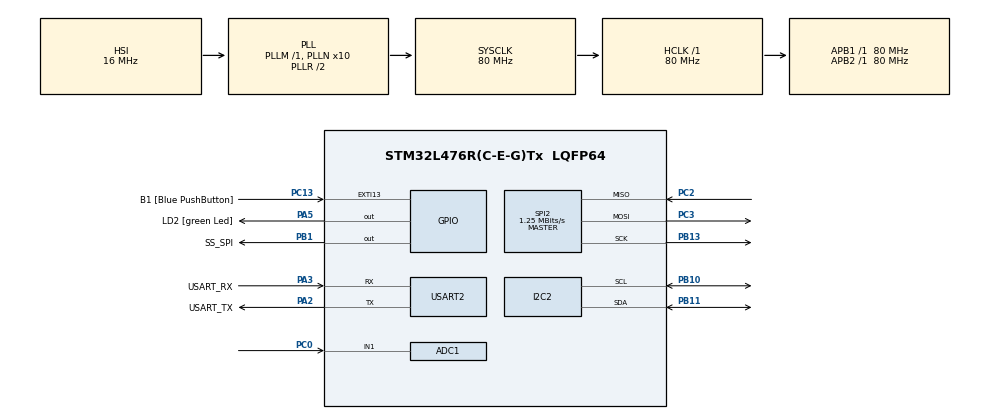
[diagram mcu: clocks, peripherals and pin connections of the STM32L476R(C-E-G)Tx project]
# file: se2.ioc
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ADC1.Channel-0\#ChannelRegularConversion=ADC_CHANNEL_1
ADC1.NbrOfConversionFlag=1
ADC1.OffsetNumber-0\#ChannelRegularConversion=ADC_OFFSET_NONE
ADC1.Rank-0\#ChannelRegularConversion=1
ADC1.SamplingTime-0\#ChannelRegularConversion=ADC_SAMPLETIME_2CYCLES_5
ADC1.master=1
I2C2.Timing=0x10D19CE4
Mcu.Family=STM32L4
Mcu.Name=STM32L476R(C-E-G)Tx
Mcu.Package=LQFP64
NVIC.ADC1_2_IRQn=true\:0\:0\:false\:false\:true\:true\:true\:true
NVIC.PriorityGroup=NVIC_PRIORITYGROUP_4
NVIC.SPI2_IRQn=true\:0\:0\:false\:false\:true\:true\:true\:true
NVIC.TIM6_DAC_IRQn=true\:0\:0\:false\:false\:true\:true\:true\:true
NVIC.TIM7_IRQn=true\:0\:0\:false\:false\:true\:true\:true\:true
NVIC.USART2_IRQn=true\:0\:0\:false\:false\:true\:true\:true\:true
PA13\ (JTMS-SWDIO).GPIO_Label=TMS
PA13\ (JTMS-SWDIO).Signal=SYS_JTMS-SWDIO
PA14\ (JTCK-SWCLK).GPIO_Label=TCK
PA14\ (JTCK-SWCLK).Signal=SYS_JTCK-SWCLK
PA2.GPIO_Label=USART_TX
PA2.GPIO_Mode=GPIO_MODE_AF_PP
PA2.GPIO_PuPd=GPIO_NOPULL
PA2.GPIO_Speed=GPIO_SPEED_FREQ_VERY_HIGH
PA2.Mode=Asynchronous
PA2.Signal=USART2_TX
PA3.GPIO_Label=USART_RX
PA3.GPIO_Mode=GPIO_MODE_AF_PP
PA3.GPIO_PuPd=GPIO_NOPULL
PA3.GPIO_Speed=GPIO_SPEED_FREQ_VERY_HIGH
PA3.Mode=Asynchronous
PA3.Signal=USART2_RX
PA5.GPIO_Label=LD2 [green Led]
PA5.GPIO_ModeDefaultOutputPP=GPIO_MODE_OUTPUT_PP
PA5.GPIO_PuPd=GPIO_NOPULL
PA5.GPIO_Speed=GPIO_SPEED_FREQ_LOW
PA5.Signal=GPIO_Output
PB1.GPIO_Label=SS_SPI
PB1.Signal=GPIO_Output
PB10.Mode=I2C
PB10.Signal=I2C2_SCL
PB11.Mode=I2C
PB11.Signal=I2C2_SDA
PB13.Mode=Full_Duplex_Master
PB13.Signal=SPI2_SCK
PB3\ (JTDO-TRACESWO).GPIO_Label=SWO
PB3\ (JTDO-TRACESWO).Signal=SYS_JTDO-SWO
PC0.Signal=ADCx_IN1
PC13.GPIO_Label=B1 [Blue PushButton]
PC13.GPIO_ModeDefaultEXTI=GPIO_MODE_IT_FALLING
PC13.GPIO_PuPd=GPIO_NOPULL
PC13.Signal=GPXTI13
PC14-OSC32_IN\ (PC14).Signal=RCC_OSC32_IN
PC15-OSC32_OUT\ (PC15).Signal=RCC_OSC32_OUT
PC2.Mode=Full_Duplex_Master
PC2.Signal=SPI2_MISO
PC3.Mode=Full_Duplex_Master
PC3.Signal=SPI2_MOSI
PH0-OSC_IN\ (PH0).Signal=RCC_OSC_IN
PH1-OSC_OUT\ (PH1).Signal=RCC_OSC_OUT
ProjectManager.HeapSize=0x200
ProjectManager.StackSize=0x400
ProjectManager.TargetToolchain=STM32CubeIDE
RCC.ADCFreq_Value=64000000
RCC.AHBFreq_Value=80000000
RCC.APB1Freq_Value=80000000
RCC.APB1TimFreq_Value=80000000
RCC.APB2Freq_Value=80000000
RCC.APB2TimFreq_Value=80000000
RCC.CortexFreq_Value=80000000
RCC.HCLKFreq_Value=80000000
RCC.HSE_VALUE=8000000
RCC.HSI_VALUE=16000000
RCC.LSE_VALUE=32768
RCC.MSI_VALUE=4000000
RCC.PLLN=10
RCC.PLLSourceVirtual=RCC_PLLSOURCE_HSI
RCC.PREFETCH_ENABLE=1
RCC.SYSCLKFreq_VALUE=80000000
RCC.SYSCLKSource=RCC_SYSCLKSOURCE_PLLCLK
RCC.USBFreq_Value=64000000
RCC.VCOOutputFreq_Value=160000000
SH.ADCx_IN1.0=ADC1_IN1,IN1-Single-Ended
SPI2.BaudRatePrescaler=SPI_BAUDRATEPRESCALER_64
SPI2.CalculateBaudRate=1.25 MBits/s
SPI2.DataSize=SPI_DATASIZE_8BIT
SPI2.Direction=SPI_DIRECTION_2LINES
SPI2.Mode=SPI_MODE_MASTER
SPI2.VirtualType=VM_MASTER
TIM6.Period=20000-1
TIM6.Prescaler=8000-1
TIM7.Period=20
TIM7.Prescaler=8000-1
USART2.VirtualMode-Asynchronous=VM_ASYNC
VP_TIM6_VS_ClockSourceINT.Mode=Enable_Timer
VP_TIM7_VS_ClockSourceINT.Mode=Enable_Timer
VP_TIM7_VS_OPM.Mode=OPM_bit
board=NUCLEO-L476RG

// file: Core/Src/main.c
/* USER CODE BEGIN Header */
/**
  ******************************************************************************
  * @file           : main.c
  * @brief          : Main program body
  ******************************************************************************
  * @attention
  *
  * Copyright (c) 2026 STMicroelectronics.
  * All rights reserved.
  *
  * This software is licensed under terms that can be found in the LICENSE file
  * in the root directory of this software component.
  * If no LICENSE file comes with this software, it is provided AS-IS.
  *
  ******************************************************************************
  */
/* USER CODE END Header */
#include "main.h"
#include "adc.h"
#include "i2c.h"
#include "spi.h"
#include "tim.h"
#include "usart.h"
#include "gpio.h"

/* USER CODE BEGIN Includes */
#include "getSensors.h"
#include "interrupciones.h"
#include <stdint.h>
#include <stdio.h>
#include <stdlib.h>
#include <string.h>
/* USER CODE END Includes */

void SystemClock_Config(void);

/* USER CODE BEGIN 0 */

//UART
uint8_t flag_escribir_uart;
uint8_t enable_S_uart;
uint8_t comando_completo[51];
uint8_t TimeSet[];
volatile float LecturaLDR;
unsigned char recibido2 = '0';
uint8_t index1 = 0;
uint8_t buffer[10];
uint8_t recib1;
uint8_t flag_segundo_caracter;
uint8_t flag_leer_uart;
//RTC
//char *LecturaRTC;
//float LecturaPresion;
uint8_t timeset =0;
uint8_t RTCConfig[9] = {0x00,
						Reg0,
						Reg1,
						Reg2,
						Reg3,
						Reg4,
						Reg5,
						Reg6,
						Reg7
};

/* USER CODE END 0 */

int main(void)
{

  /* MCU Configuration--------------------------------------------------------*/

  /* Reset of all peripherals, Initializes the Flash interface and the Systick. */
  HAL_Init();

  /* Configure the system clock */
  SystemClock_Config();

  /* Initialize all configured peripherals */
  MX_GPIO_Init();
  MX_ADC1_Init();
  MX_I2C2_Init();
  MX_SPI2_Init();
  MX_TIM6_Init();
  MX_USART2_UART_Init();
  MX_TIM7_Init();
  /* USER CODE BEGIN 2 */
  HAL_ADC_Start_IT(&hadc1);
  HAL_TIM_Base_Start_IT(&htim6);
  enable_S_uart = 0;
  Config_Sensor();
  //ptr_recib1 = recib1;
  HAL_UART_Receive_IT(&huart2, &recib1, 1);

  uint8_t year, month, day;
  uint8_t hour, minute, second;
  char comando; // 2 caracteres y el byte 0
  char* com;
  flag_leer_uart=0;

  HAL_I2C_Init(&hi2c2);
  //HAL_I2C_Master_Transmit(&hi2c2, SlaveAddW, RTCConfig, 9, 100);

  /* USER CODE END 2 */

  /* Infinite loop */
  /* USER CODE BEGIN WHILE */
  while (1)
  {
//	  if(flag_ConfigRTC){
//		  HAL_UART_Receive(&huart2, RTCconfig, 30, 300);
//		  flag_ConfigRTC = 0;
//	  }else {
//		  HAL_UART_Receive(&huart2, comando_completo, 2, 300);
//	  }

	  if(flag_escribir_uart && enable_S_uart){
		  //LecturaRTC = get_rtc();
		  //LecturaPresion = get_pressure();
		  LecturaLDR = get_ldr();

		  printf("%s %3.1f hPa %03u lux \n",get_rtc(),(float)get_pressure()/100.0f, (uint16_t)LecturaLDR);//Escribe en la consola serial

		  flag_escribir_uart = 0;
	  }

	  if(flag_leer_uart){

		  HAL_UART_Receive_IT(&huart2, &recib1, 1);

		  switch(recib1){
		  	  	case 'P':
		  	  		printf("%s %3.1f hPa %03u lux\n",get_rtc(),(float)get_pressure()/100.0f, (uint16_t)get_ldr());

		  	  		  break;
		  	  	case 'Q':
		  	  		printf("%s %03u lux\n",get_rtc(),(uint16_t)get_ldr());

		  	  		  		  break;
		  	  	case 'R':
		  	  		printf("%s %3.1f hPa\n",get_rtc(),(float)get_pressure()/100.0f);

		  	  		  		  break;
		  	  	case 'S': enable_S_uart = 1;

		  	  		  		  break;
		  	  	case 'T':

		  	  				HAL_Delay(1);
								if(recib1=='S'){
									timeset =1;
								}else{
									enable_S_uart = 0;
								}

		  	  		  		  break;
		  	  	default:
		  	  			printf("Error comando desconocido\n%c",0);
		  	  			break;
		  	  	//case "TS":

		  	  }

		  flag_leer_uart = 0;
	  }
	 if(timeset){
		buffer[index1] = recib1;

		if(index1>=21){
			index1 = 0;
			timeset =0;
			sscanf(buffer, "%d-%d-%d %d:%d:%d", &year,&month,&day,&hour,&minute,&second);
			RTCConfig[7] = year;
			HAL_I2C_Master_Transmit(&hi2c2, SlaveAddW, RTCConfig, 9, 100);
		}
		index1++;
	 }

//	sscanf(comando_completo, "%2s", comando);

    /* USER CODE END WHILE */

  }
}

void SystemClock_Config(void)
{
  RCC_OscInitTypeDef RCC_OscInitStruct = {0};
  RCC_ClkInitTypeDef RCC_ClkInitStruct = {0};

  /** Configure the main internal regulator output voltage
  */
  if (HAL_PWREx_ControlVoltageScaling(PWR_REGULATOR_VOLTAGE_SCALE1) != HAL_OK)
  {
    Error_Handler();
  }

  /** Initializes the RCC Oscillators according to the specified parameters
  * in the RCC_OscInitTypeDef structure.
  */
  RCC_OscInitStruct.OscillatorType = RCC_OSCILLATORTYPE_HSI;
  RCC_OscInitStruct.HSIState = RCC_HSI_ON;
  RCC_OscInitStruct.HSICalibrationValue = RCC_HSICALIBRATION_DEFAULT;
  RCC_OscInitStruct.PLL.PLLState = RCC_PLL_ON;
  RCC_OscInitStruct.PLL.PLLSource = RCC_PLLSOURCE_HSI;
  RCC_OscInitStruct.PLL.PLLM = 1;
  RCC_OscInitStruct.PLL.PLLN = 10;
  RCC_OscInitStruct.PLL.PLLP = RCC_PLLP_DIV7;
  RCC_OscInitStruct.PLL.PLLQ = RCC_PLLQ_DIV2;
  RCC_OscInitStruct.PLL.PLLR = RCC_PLLR_DIV2;
  if (HAL_RCC_OscConfig(&RCC_OscInitStruct) != HAL_OK)
  {
    Error_Handler();
  }

  /** Initializes the CPU, AHB and APB buses clocks
  */
  RCC_ClkInitStruct.ClockType = RCC_CLOCKTYPE_HCLK|RCC_CLOCKTYPE_SYSCLK
                              |RCC_CLOCKTYPE_PCLK1|RCC_CLOCKTYPE_PCLK2;
  RCC_ClkInitStruct.SYSCLKSource = RCC_SYSCLKSOURCE_PLLCLK;
  RCC_ClkInitStruct.AHBCLKDivider = RCC_SYSCLK_DIV1;
  RCC_ClkInitStruct.APB1CLKDivider = RCC_HCLK_DIV1;
  RCC_ClkInitStruct.APB2CLKDivider = RCC_HCLK_DIV1;

  if (HAL_RCC_ClockConfig(&RCC_ClkInitStruct, FLASH_LATENCY_4) != HAL_OK)
  {
    Error_Handler();
  }
}

void Error_Handler(void)
{
  __disable_irq();
  while (1)
  {
  }
}
